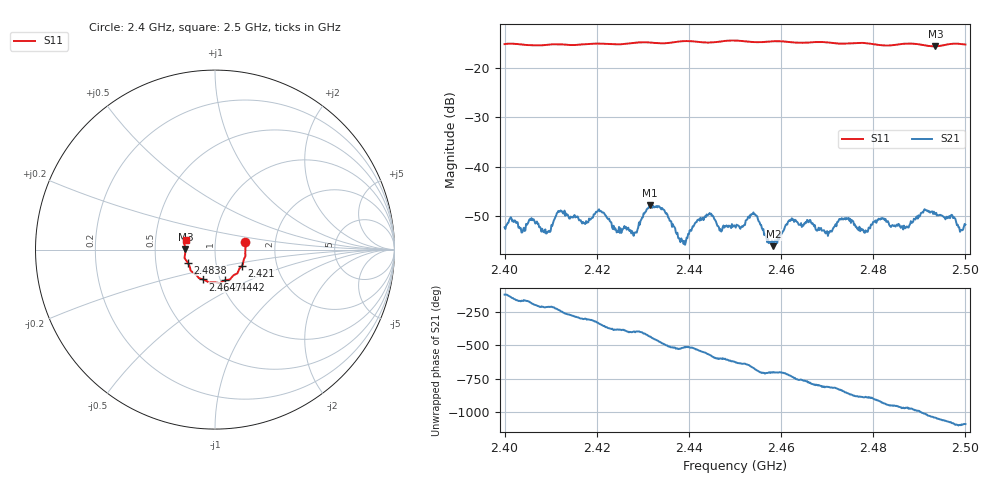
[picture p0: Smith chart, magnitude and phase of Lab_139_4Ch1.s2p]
# Hz S RI R 50
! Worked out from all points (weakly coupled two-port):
!   601 points, 2.4 GHz to 2.5 GHz, reference 50 ohm
!   highest |S21| = -47.80 dB at 2.4315 GHz (marker M1); lowest = -56.1 dB at 2.4583 GHz (marker M2)
!   lowest |S11| = -15.6 dB at 2.4935 GHz (marker M3), VSWR 1.40, Z = 35.8 + j0.205 ohm
!   |S11| at or under -10 dB: start of sweep to end of sweep
!   S12 and S22 are empty: the file has one direction only
!   S11 on the Smith chart (normalised r, x): 2.4 GHz: 1.40, +0.12; 2.421 GHz: 1.33, -0.24; 2.4442 GHz: 1.05, -0.37; 2.4647 GHz: 0.83, -0.28; 2.4838 GHz: 0.73, -0.11; 2.5 GHz: 0.71, +0.08
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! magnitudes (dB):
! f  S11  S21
! 2.4 GHz  -15.2  -52.3
! 2.4058 GHz  -15.4  -50.4
! 2.4095 GHz  -15.3  -53.2
! 2.412 GHz  -15.2  -49.1
! 2.4167 GHz  -15.3  -51.2
! 2.421 GHz  -15.1  -49.0
! 2.428 GHz  -15.0  -54.0
! 2.4315 GHz  -14.9  -47.8
! 2.4333 GHz  -15.0  -48.0
! 2.4387 GHz  -14.6  -55.0
! 2.4442 GHz  -14.9  -49.7
! 2.45 GHz  -14.5  -52.1
! 2.4542 GHz  -14.8  -49.6
! 2.4583 GHz  -14.6  -56.1
! 2.462 GHz  -14.8  -51.0
! 2.4647 GHz  -14.9  -51.9
! 2.4667 GHz  -14.8  -51.5
! 2.47 GHz  -14.9  -53.0
! 2.4833 GHz  -15.5  -51.3
! 2.4838 GHz  -15.5  -52.2
! 2.4935 GHz  -15.6  -49.6
! 2.5 GHz  -15.3  -51.7
